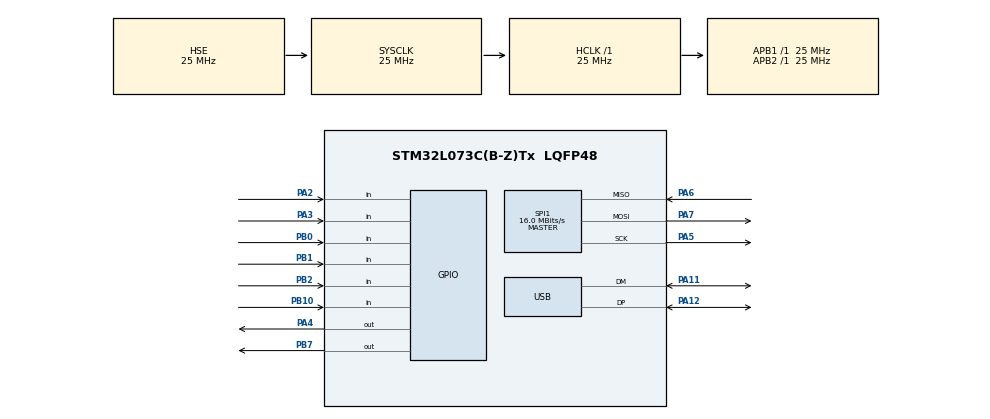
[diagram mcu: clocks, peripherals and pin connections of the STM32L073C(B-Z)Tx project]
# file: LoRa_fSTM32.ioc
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Mcu.Family=STM32L0
Mcu.Name=STM32L073C(B-Z)Tx
Mcu.Package=LQFP48
PA11.Mode=Device
PA11.Signal=USB_DM
PA12.Mode=Device
PA12.Signal=USB_DP
PA13.Mode=Serial_Wire
PA13.Signal=SYS_SWDIO
PA14.Mode=Serial_Wire
PA14.Signal=SYS_SWCLK
PA2.Signal=GPIO_Input
PA3.Signal=GPIO_Input
PA4.Signal=GPIO_Output
PA5.Mode=Full_Duplex_Master
PA5.Signal=SPI1_SCK
PA6.Mode=Full_Duplex_Master
PA6.Signal=SPI1_MISO
PA7.Mode=Full_Duplex_Master
PA7.Signal=SPI1_MOSI
PB0.Signal=GPIO_Input
PB1.Signal=GPIO_Input
PB10.Signal=GPIO_Input
PB2.Signal=GPIO_Input
PB7.Signal=GPIO_Output
PH0-OSC_IN.Mode=HSE-External-Oscillator
PH0-OSC_IN.Signal=RCC_OSC_IN
PH1-OSC_OUT.Mode=HSE-External-Oscillator
PH1-OSC_OUT.Signal=RCC_OSC_OUT
ProjectManager.HeapSize=0x200
ProjectManager.StackSize=0x400
ProjectManager.TargetToolchain=STM32CubeIDE
RCC.ADCFreq_Value=16000000
RCC.AHBFreq_Value=25000000
RCC.APB1Freq_Value=25000000
RCC.APB1TimFreq_Value=25000000
RCC.APB2Freq_Value=25000000
RCC.APB2TimFreq_Value=25000000
RCC.HCLKFreq_Value=25000000
RCC.HSE_VALUE=25000000
RCC.HSI16_VALUE=16000000
RCC.HSI48MClockSelection=RCC_USBCLKSOURCE_HSI48
RCC.HSI48_VALUE=48000000
RCC.HSI_VALUE=16000000
RCC.LSE_VALUE=32768
RCC.MSI_VALUE=2097000
RCC.PLLMUL=RCC_PLLMUL_4
RCC.SYSCLKFreq_VALUE=25000000
RCC.SYSCLKSource=RCC_SYSCLKSOURCE_HSE
RCC.VCOOutputFreq_Value=64000000
SPI1.BaudRatePrescaler=SPI_BAUDRATEPRESCALER_2
SPI1.CalculateBaudRate=16.0 MBits/s
SPI1.Direction=SPI_DIRECTION_2LINES
SPI1.Mode=SPI_MODE_MASTER
SPI1.TIMode=SPI_TIMODE_DISABLE
SPI1.VirtualType=VM_MASTER
board=custom

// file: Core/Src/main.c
/* USER CODE BEGIN Header */
/**
  ******************************************************************************
  * @file           : main.c
  * @brief          : Main program body
  ******************************************************************************
  * @attention
  *
  * <h2><center>&copy; Copyright (c) 2020 STMicroelectronics.
  * All rights reserved.</center></h2>
  *
  * This software component is licensed by ST under BSD 3-Clause license,
  * the "License"; You may not use this file except in compliance with the
  * License. You may obtain a copy of the License at:
  *                        opensource.org/licenses/BSD-3-Clause
  *
  ******************************************************************************
  */
/* USER CODE END Header */

#include "main.h"
#include "LoRa.h"
#include "crypto.h"

SPI_HandleTypeDef hspi1;

PCD_HandleTypeDef hpcd_USB_FS;

void SystemClock_Config(void);
static void MX_GPIO_Init(void);
static void MX_SPI1_Init(void);
static void MX_USB_PCD_Init(void);

uint8_t all_tick = 0;
int main(void)
{

  /* MCU Configuration--------------------------------------------------------*/

  /* Reset of all peripherals, Initializes the Flash interface and the Systick. */
  HAL_Init();

  /* Configure the system clock */
  SystemClock_Config();

  /* Initialize all configured peripherals */
  MX_GPIO_Init();
  MX_SPI1_Init();
  MX_USB_PCD_Init();

  /* Infinite loop */
  /* USER CODE BEGIN WHILE */

  //LoRa_Init(hspi1);
  //char *mas = "Helora World";
  magma_ctx_t ctx_magma;
  const uint8_t key[] =
  {
  	0xff, 0xee, 0xdd, 0xcc, 0xbb, 0xaa, 0x99, 0x88,
  	0x77, 0x66, 0x55, 0x44, 0x33, 0x22, 0x11, 0x00,
  	0xf0, 0xf1, 0xf2, 0xf3, 0xf4, 0xf5, 0xf6, 0xf7,
  	0xf8, 0xf9, 0xfa, 0xfb, 0xfc, 0xfd, 0xfe, 0xff
  };
  const uint8_t *data[] =
  {
  	(uint8_t []){0xfe, 0xdc, 0xba, 0x98, 0x76, 0x54, 0x32, 0x10},
  	(uint8_t []){0x92, 0xde, 0xf0, 0x6b, 0x3c, 0x13, 0x0a, 0x59},
  	(uint8_t []){0xdb, 0x54, 0xc7, 0x04, 0xf8, 0x18, 0x9d, 0x20},
  	(uint8_t []){0x4a, 0x98, 0xfb, 0x2e, 0x67, 0xa8, 0x02, 0x4c},
  	(uint8_t []){0x89, 0x12, 0x40, 0x9b, 0x17, 0xb5, 0x7e, 0x41}
  };
  Magma_Init(&ctx_magma, key);
  uint32_t tick = 0;
  char tic33_buf[100];
  Magma_ECB_enc(&ctx_magma, data[0]);
  while (1)
  {
	 tick = HAL_GetTick();
	 for (int i = 0; i < 32; i++){
		 Magma_ECB_enc(&ctx_magma, data[0]);
		 Magma_ECB_dec(&ctx_magma, ctx_magma.out);
	 }
	 all_tick = HAL_GetTick() - tick;
	 snprintf(tic33_buf, 10, "%ld ms", all_tick);
    /* USER CODE END WHILE */

    /* USER CODE BEGIN 3 */
	 /*recive();
	 while(headerPacket(0) == 0){
	 }
	 Write_Massage(mas, 12);
	 endPacket();*/

  }
  /* USER CODE END 3 */
}

void SystemClock_Config(void)
{
  RCC_OscInitTypeDef RCC_OscInitStruct = {0};
  RCC_ClkInitTypeDef RCC_ClkInitStruct = {0};
  RCC_PeriphCLKInitTypeDef PeriphClkInit = {0};

  /** Configure the main internal regulator output voltage
  */
  __HAL_PWR_VOLTAGESCALING_CONFIG(PWR_REGULATOR_VOLTAGE_SCALE1);
  /** Initializes the CPU, AHB and APB busses clocks
  */
  RCC_OscInitStruct.OscillatorType = RCC_OSCILLATORTYPE_HSE|RCC_OSCILLATORTYPE_HSI48;
  RCC_OscInitStruct.HSEState = RCC_HSE_ON;
  RCC_OscInitStruct.HSI48State = RCC_HSI48_ON;
  RCC_OscInitStruct.PLL.PLLState = RCC_PLL_NONE;
  if (HAL_RCC_OscConfig(&RCC_OscInitStruct) != HAL_OK)
  {
    Error_Handler();
  }
  /** Initializes the CPU, AHB and APB busses clocks
  */
  RCC_ClkInitStruct.ClockType = RCC_CLOCKTYPE_HCLK|RCC_CLOCKTYPE_SYSCLK
                              |RCC_CLOCKTYPE_PCLK1|RCC_CLOCKTYPE_PCLK2;
  RCC_ClkInitStruct.SYSCLKSource = RCC_SYSCLKSOURCE_HSE;
  RCC_ClkInitStruct.AHBCLKDivider = RCC_SYSCLK_DIV1;
  RCC_ClkInitStruct.APB1CLKDivider = RCC_HCLK_DIV1;
  RCC_ClkInitStruct.APB2CLKDivider = RCC_HCLK_DIV1;

  if (HAL_RCC_ClockConfig(&RCC_ClkInitStruct, FLASH_LATENCY_1) != HAL_OK)
  {
    Error_Handler();
  }
  PeriphClkInit.PeriphClockSelection = RCC_PERIPHCLK_USB;
  PeriphClkInit.UsbClockSelection = RCC_USBCLKSOURCE_HSI48;
  if (HAL_RCCEx_PeriphCLKConfig(&PeriphClkInit) != HAL_OK)
  {
    Error_Handler();
  }
}

static void MX_SPI1_Init(void)
{

  /* SPI1 parameter configuration*/
  hspi1.Instance = SPI1;
  hspi1.Init.Mode = SPI_MODE_MASTER;
  hspi1.Init.Direction = SPI_DIRECTION_2LINES;
  hspi1.Init.DataSize = SPI_DATASIZE_8BIT;
  hspi1.Init.CLKPolarity = SPI_POLARITY_LOW;
  hspi1.Init.CLKPhase = SPI_PHASE_1EDGE;
  hspi1.Init.NSS = SPI_NSS_SOFT;
  hspi1.Init.BaudRatePrescaler = SPI_BAUDRATEPRESCALER_2;
  hspi1.Init.FirstBit = SPI_FIRSTBIT_MSB;
  hspi1.Init.TIMode = SPI_TIMODE_DISABLE;
  hspi1.Init.CRCCalculation = SPI_CRCCALCULATION_DISABLE;
  hspi1.Init.CRCPolynomial = 7;
  if (HAL_SPI_Init(&hspi1) != HAL_OK)
  {
    Error_Handler();
  }

}

static void MX_USB_PCD_Init(void)
{

  hpcd_USB_FS.Instance = USB;
  hpcd_USB_FS.Init.dev_endpoints = 8;
  hpcd_USB_FS.Init.speed = PCD_SPEED_FULL;
  hpcd_USB_FS.Init.phy_itface = PCD_PHY_EMBEDDED;
  hpcd_USB_FS.Init.low_power_enable = DISABLE;
  hpcd_USB_FS.Init.lpm_enable = DISABLE;
  hpcd_USB_FS.Init.battery_charging_enable = DISABLE;
  if (HAL_PCD_Init(&hpcd_USB_FS) != HAL_OK)
  {
    Error_Handler();
  }

}

static void MX_GPIO_Init(void)
{
  GPIO_InitTypeDef GPIO_InitStruct = {0};

  /* GPIO Ports Clock Enable */
  __HAL_RCC_GPIOH_CLK_ENABLE();
  __HAL_RCC_GPIOA_CLK_ENABLE();
  __HAL_RCC_GPIOB_CLK_ENABLE();

  /*Configure GPIO pin Output Level */
  HAL_GPIO_WritePin(GPIOA, GPIO_PIN_4, GPIO_PIN_RESET);

  /*Configure GPIO pin Output Level */
  HAL_GPIO_WritePin(GPIOB, GPIO_PIN_7, GPIO_PIN_RESET);

  /*Configure GPIO pins : PA2 PA3 */
  GPIO_InitStruct.Pin = GPIO_PIN_2|GPIO_PIN_3;
  GPIO_InitStruct.Mode = GPIO_MODE_INPUT;
  GPIO_InitStruct.Pull = GPIO_NOPULL;
  HAL_GPIO_Init(GPIOA, &GPIO_InitStruct);

  /*Configure GPIO pin : PA4 */
  GPIO_InitStruct.Pin = GPIO_PIN_4;
  GPIO_InitStruct.Mode = GPIO_MODE_OUTPUT_PP;
  GPIO_InitStruct.Pull = GPIO_NOPULL;
  GPIO_InitStruct.Speed = GPIO_SPEED_FREQ_LOW;
  HAL_GPIO_Init(GPIOA, &GPIO_InitStruct);

  /*Configure GPIO pins : PB0 PB1 PB2 PB10 */
  GPIO_InitStruct.Pin = GPIO_PIN_0|GPIO_PIN_1|GPIO_PIN_2|GPIO_PIN_10;
  GPIO_InitStruct.Mode = GPIO_MODE_INPUT;
  GPIO_InitStruct.Pull = GPIO_NOPULL;
  HAL_GPIO_Init(GPIOB, &GPIO_InitStruct);

  /*Configure GPIO pin : PB7 */
  GPIO_InitStruct.Pin = GPIO_PIN_7;
  GPIO_InitStruct.Mode = GPIO_MODE_OUTPUT_PP;
  GPIO_InitStruct.Pull = GPIO_NOPULL;
  GPIO_InitStruct.Speed = GPIO_SPEED_FREQ_LOW;
  HAL_GPIO_Init(GPIOB, &GPIO_InitStruct);

}

void Error_Handler(void)
{
}

/************************ (C) COPYRIGHT STMicroelectronics *****END OF FILE****/
